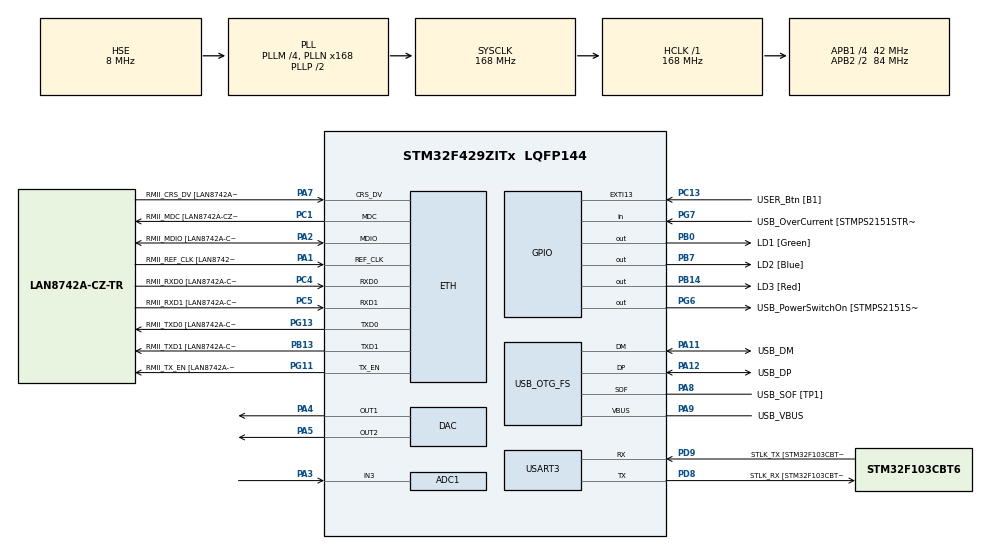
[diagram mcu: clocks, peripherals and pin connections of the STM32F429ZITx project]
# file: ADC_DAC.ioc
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ADC1.Channel-0\#ChannelRegularConversion=ADC_CHANNEL_3
ADC1.NbrOfConversionFlag=1
ADC1.Rank-0\#ChannelRegularConversion=1
ADC1.SamplingTime-0\#ChannelRegularConversion=ADC_SAMPLETIME_3CYCLES
ADC1.master=1
ETH.MediaInterface=HAL_ETH_RMII_MODE
ETH.PHY_Name=LAN8742A_PHY_ADDRESS
ETH.PHY_Value=0
ETH.PhyAddress=0
Mcu.Family=STM32F4
Mcu.Name=STM32F429ZITx
Mcu.Package=LQFP144
NVIC.PriorityGroup=NVIC_PRIORITYGROUP_4
PA1.GPIO_Label=RMII_REF_CLK [LAN8742A-CZ-TR_REFCLK0]
PA1.Mode=RMII
PA1.Signal=ETH_REF_CLK
PA10.GPIO_Label=USB_ID
PA10.Signal=USB_OTG_FS_ID
PA11.GPIO_Label=USB_DM
PA11.Mode=Device_Only
PA11.Signal=USB_OTG_FS_DM
PA12.GPIO_Label=USB_DP
PA12.Mode=Device_Only
PA12.Signal=USB_OTG_FS_DP
PA13.GPIO_Label=TMS
PA13.Mode=Serial_Wire
PA13.Signal=SYS_JTMS-SWDIO
PA14.GPIO_Label=TCK
PA14.Mode=Serial_Wire
PA14.Signal=SYS_JTCK-SWCLK
PA2.GPIO_Label=RMII_MDIO [LAN8742A-CZ-TR_MDIO]
PA2.Mode=RMII
PA2.Signal=ETH_MDIO
PA3.Signal=ADCx_IN3
PA4.Signal=COMP_DAC1_group
PA5.Signal=COMP_DAC2_group
PA7.GPIO_Label=RMII_CRS_DV [LAN8742A-CZ-TR_CRS_DV]
PA7.Mode=RMII
PA7.Signal=ETH_CRS_DV
PA8.GPIO_Label=USB_SOF [TP1]
PA8.Mode=Activate_SOF_FS
PA8.Signal=USB_OTG_FS_SOF
PA9.GPIO_Label=USB_VBUS
PA9.Mode=Activate_VBUS
PA9.Signal=USB_OTG_FS_VBUS
PB0.GPIO_Label=LD1 [Green]
PB0.Signal=GPIO_Output
PB13.GPIO_Label=RMII_TXD1 [LAN8742A-CZ-TR_TXD1]
PB13.Mode=RMII
PB13.Signal=ETH_TXD1
PB14.GPIO_Label=LD3 [Red]
PB14.Signal=GPIO_Output
PB7.GPIO_Label=LD2 [Blue]
PB7.Signal=GPIO_Output
PC1.GPIO_Label=RMII_MDC [LAN8742A-CZ-TR_MDC]
PC1.Mode=RMII
PC1.Signal=ETH_MDC
PC13.GPIO_Label=USER_Btn [B1]
PC13.Signal=GPXTI13
PC14/OSC32_IN.Mode=LSE-External-Oscillator
PC14/OSC32_IN.Signal=RCC_OSC32_IN
PC15/OSC32_OUT.Mode=LSE-External-Oscillator
PC15/OSC32_OUT.Signal=RCC_OSC32_OUT
PC4.GPIO_Label=RMII_RXD0 [LAN8742A-CZ-TR_RXD0]
PC4.Mode=RMII
PC4.Signal=ETH_RXD0
PC5.GPIO_Label=RMII_RXD1 [LAN8742A-CZ-TR_RXD1]
PC5.Mode=RMII
PC5.Signal=ETH_RXD1
PD8.GPIO_Label=STLK_RX [STM32F103CBT6_PA3]
PD8.Mode=Asynchronous
PD8.Signal=USART3_TX
PD9.GPIO_Label=STLK_TX [STM32F103CBT6_PA2]
PD9.Mode=Asynchronous
PD9.Signal=USART3_RX
PG11.GPIO_Label=RMII_TX_EN [LAN8742A-CZ-TR_TXEN]
PG11.Mode=RMII
PG11.Signal=ETH_TX_EN
PG13.GPIO_Label=RMII_TXD0 [LAN8742A-CZ-TR_TXD0]
PG13.Mode=RMII
PG13.Signal=ETH_TXD0
PG6.GPIO_Label=USB_PowerSwitchOn [STMPS2151STR_EN]
PG6.Signal=GPIO_Output
PG7.GPIO_Label=USB_OverCurrent [STMPS2151STR_FAULT]
PG7.Signal=GPIO_Input
PH0/OSC_IN.GPIO_Label=MCO [STM32F103CBT6_PA8]
PH0/OSC_IN.Mode=HSE-External-Clock-Source
PH0/OSC_IN.Signal=RCC_OSC_IN
PH1/OSC_OUT.Mode=HSE-External-Clock-Source
PH1/OSC_OUT.Signal=RCC_OSC_OUT
ProjectManager.HeapSize=0x200
ProjectManager.StackSize=0x400
ProjectManager.TargetToolchain=STM32CubeIDE
RCC.48MHZClocksFreq_Value=48000000
RCC.AHBFreq_Value=168000000
RCC.APB1CLKDivider=RCC_HCLK_DIV4
RCC.APB1Freq_Value=42000000
RCC.APB1TimFreq_Value=84000000
RCC.APB2CLKDivider=RCC_HCLK_DIV2
RCC.APB2Freq_Value=84000000
RCC.APB2TimCLKDivider=2
RCC.APB2TimFreq_Value=168000000
RCC.CortexFreq_Value=168000000
RCC.HCLKFreq_Value=168000000
RCC.HSE_VALUE=8000000
RCC.HSI_VALUE=16000000
RCC.PLLM=4
RCC.PLLMUL=RCC_PLL_MUL9
RCC.PLLN=168
RCC.PLLQ=7
RCC.PRESCALERUSB=RCC_USBCLKSOURCE_PLL_DIV1_5
RCC.SYSCLKFreq_VALUE=168000000
RCC.SYSCLKSource=RCC_SYSCLKSOURCE_PLLCLK
RCC.SYSCLKSourceVirtual=RCC_SYSCLKSOURCE_PLLCLK
RCC.USBFreq_Value=48000000
RCC.VCOOutputFreq_Value=336000000
SH.ADCx_IN3.0=ADC1_IN3,IN3
SH.COMP_DAC1_group.0=DAC_OUT1,DAC_OUT1
SH.COMP_DAC2_group.0=DAC_OUT2,DAC_OUT2
USART3.VirtualMode=VM_ASYNC
USB_OTG_FS.VirtualMode=Device_Only
board=NUCLEO-F429ZI

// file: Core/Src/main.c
/* USER CODE BEGIN Header */
/**
  ******************************************************************************
  * @file           : main.c
  * @brief          : Main program body
  ******************************************************************************
  * @attention
  *
  * Copyright (c) 2023 STMicroelectronics.
  * All rights reserved.
  *
  * This software is licensed under terms that can be found in the LICENSE file
  * in the root directory of this software component.
  * If no LICENSE file comes with this software, it is provided AS-IS.
  *
  ******************************************************************************
  */
/* USER CODE END Header */
#include "main.h"
#include "string.h"

/* USER CODE BEGIN Includes */
#include "stdio.h"
/* USER CODE END Includes */

ETH_TxPacketConfig TxConfig;
ETH_DMADescTypeDef  DMARxDscrTab[ETH_RX_DESC_CNT]; /* Ethernet Rx DMA Descriptors */
ETH_DMADescTypeDef  DMATxDscrTab[ETH_TX_DESC_CNT]; /* Ethernet Tx DMA Descriptors */

ADC_HandleTypeDef hadc1;

DAC_HandleTypeDef hdac;

ETH_HandleTypeDef heth;

UART_HandleTypeDef huart3;

PCD_HandleTypeDef hpcd_USB_OTG_FS;

void SystemClock_Config(void);
static void MX_GPIO_Init(void);
static void MX_ETH_Init(void);
static void MX_USART3_UART_Init(void);
static void MX_USB_OTG_FS_PCD_Init(void);
static void MX_ADC1_Init(void);
static void MX_DAC_Init(void);
/* USER CODE BEGIN PFP */
int _write(int file, char *ptr, int len) {
	HAL_UART_Transmit(&huart3, (uint8_t *)ptr, len, 500);
	return len;
}

int __io_putchar(int ch) {
	HAL_UART_Transmit(&huart3, (uint8_t *)&ch, 1, 1000);
	return ch;
}

/* USER CODE END PFP */

int main(void)
{

  /* MCU Configuration--------------------------------------------------------*/

  /* Reset of all peripherals, Initializes the Flash interface and the Systick. */
  HAL_Init();

  /* Configure the system clock */
  SystemClock_Config();

  /* Initialize all configured peripherals */
  MX_GPIO_Init();
  MX_ETH_Init();
  MX_USART3_UART_Init();
  MX_USB_OTG_FS_PCD_Init();
  MX_ADC1_Init();
  MX_DAC_Init();
  /* USER CODE BEGIN 2 */
  int adc_value;
  HAL_ADC_Start_IT(&hadc1);
  HAL_DAC_Start(&hdac, DAC_CHANNEL_1);
  HAL_DAC_Start(&hdac, DAC_CHANNEL_2);

  /* USER CODE END 2 */

  /* Infinite loop */
  /* USER CODE BEGIN WHILE */
  while (1)
  {
	  HAL_DAC_SetValue(&hdac, DAC_CHANNEL_1, DAC_ALIGN_12B_R, 4095);
	  HAL_DAC_SetValue(&hdac, DAC_CHANNEL_2, DAC_ALIGN_12B_R, 4095-adc_value);
	  HAL_Delay(1);

	  HAL_ADC_Start(&hadc1);
	  HAL_ADC_PollForConversion(&hadc1, 10);
	  adc_value = HAL_ADC_GetValue(&hadc1);
	  HAL_ADC_Stop(&hadc1);

	  printf("ADC value : %d, DAC1 value : %d, DAC2 vale : %d \r\n", adc_value, adc_value, 4095-adc_value);
	  HAL_Delay(300);
    /* USER CODE END WHILE */

  }
}

void SystemClock_Config(void)
{
  RCC_OscInitTypeDef RCC_OscInitStruct = {0};
  RCC_ClkInitTypeDef RCC_ClkInitStruct = {0};

  /** Configure the main internal regulator output voltage
  */
  __HAL_RCC_PWR_CLK_ENABLE();
  __HAL_PWR_VOLTAGESCALING_CONFIG(PWR_REGULATOR_VOLTAGE_SCALE1);

  /** Initializes the RCC Oscillators according to the specified parameters
  * in the RCC_OscInitTypeDef structure.
  */
  RCC_OscInitStruct.OscillatorType = RCC_OSCILLATORTYPE_HSE;
  RCC_OscInitStruct.HSEState = RCC_HSE_BYPASS;
  RCC_OscInitStruct.PLL.PLLState = RCC_PLL_ON;
  RCC_OscInitStruct.PLL.PLLSource = RCC_PLLSOURCE_HSE;
  RCC_OscInitStruct.PLL.PLLM = 4;
  RCC_OscInitStruct.PLL.PLLN = 168;
  RCC_OscInitStruct.PLL.PLLP = RCC_PLLP_DIV2;
  RCC_OscInitStruct.PLL.PLLQ = 7;
  if (HAL_RCC_OscConfig(&RCC_OscInitStruct) != HAL_OK)
  {
    Error_Handler();
  }

  /** Initializes the CPU, AHB and APB buses clocks
  */
  RCC_ClkInitStruct.ClockType = RCC_CLOCKTYPE_HCLK|RCC_CLOCKTYPE_SYSCLK
                              |RCC_CLOCKTYPE_PCLK1|RCC_CLOCKTYPE_PCLK2;
  RCC_ClkInitStruct.SYSCLKSource = RCC_SYSCLKSOURCE_PLLCLK;
  RCC_ClkInitStruct.AHBCLKDivider = RCC_SYSCLK_DIV1;
  RCC_ClkInitStruct.APB1CLKDivider = RCC_HCLK_DIV4;
  RCC_ClkInitStruct.APB2CLKDivider = RCC_HCLK_DIV2;

  if (HAL_RCC_ClockConfig(&RCC_ClkInitStruct, FLASH_LATENCY_5) != HAL_OK)
  {
    Error_Handler();
  }
}

static void MX_ADC1_Init(void)
{

  ADC_ChannelConfTypeDef sConfig = {0};

  /** Configure the global features of the ADC (Clock, Resolution, Data Alignment and number of conversion)
  */
  hadc1.Instance = ADC1;
  hadc1.Init.ClockPrescaler = ADC_CLOCK_SYNC_PCLK_DIV4;
  hadc1.Init.Resolution = ADC_RESOLUTION_12B;
  hadc1.Init.ScanConvMode = DISABLE;
  hadc1.Init.ContinuousConvMode = DISABLE;
  hadc1.Init.DiscontinuousConvMode = DISABLE;
  hadc1.Init.ExternalTrigConvEdge = ADC_EXTERNALTRIGCONVEDGE_NONE;
  hadc1.Init.ExternalTrigConv = ADC_SOFTWARE_START;
  hadc1.Init.DataAlign = ADC_DATAALIGN_RIGHT;
  hadc1.Init.NbrOfConversion = 1;
  hadc1.Init.DMAContinuousRequests = DISABLE;
  hadc1.Init.EOCSelection = ADC_EOC_SINGLE_CONV;
  if (HAL_ADC_Init(&hadc1) != HAL_OK)
  {
    Error_Handler();
  }

  /** Configure for the selected ADC regular channel its corresponding rank in the sequencer and its sample time.
  */
  sConfig.Channel = ADC_CHANNEL_3;
  sConfig.Rank = 1;
  sConfig.SamplingTime = ADC_SAMPLETIME_3CYCLES;
  if (HAL_ADC_ConfigChannel(&hadc1, &sConfig) != HAL_OK)
  {
    Error_Handler();
  }

}

static void MX_DAC_Init(void)
{

  DAC_ChannelConfTypeDef sConfig = {0};

  /** DAC Initialization
  */
  hdac.Instance = DAC;
  if (HAL_DAC_Init(&hdac) != HAL_OK)
  {
    Error_Handler();
  }

  /** DAC channel OUT1 config
  */
  sConfig.DAC_Trigger = DAC_TRIGGER_NONE;
  sConfig.DAC_OutputBuffer = DAC_OUTPUTBUFFER_ENABLE;
  if (HAL_DAC_ConfigChannel(&hdac, &sConfig, DAC_CHANNEL_1) != HAL_OK)
  {
    Error_Handler();
  }

  /** DAC channel OUT2 config
  */
  if (HAL_DAC_ConfigChannel(&hdac, &sConfig, DAC_CHANNEL_2) != HAL_OK)
  {
    Error_Handler();
  }

}

static void MX_ETH_Init(void)
{

   static uint8_t MACAddr[6];

  heth.Instance = ETH;
  MACAddr[0] = 0x00;
  MACAddr[1] = 0x80;
  MACAddr[2] = 0xE1;
  MACAddr[3] = 0x00;
  MACAddr[4] = 0x00;
  MACAddr[5] = 0x00;
  heth.Init.MACAddr = &MACAddr[0];
  heth.Init.MediaInterface = HAL_ETH_RMII_MODE;
  heth.Init.TxDesc = DMATxDscrTab;
  heth.Init.RxDesc = DMARxDscrTab;
  heth.Init.RxBuffLen = 1524;

  if (HAL_ETH_Init(&heth) != HAL_OK)
  {
    Error_Handler();
  }

  memset(&TxConfig, 0 , sizeof(ETH_TxPacketConfig));
  TxConfig.Attributes = ETH_TX_PACKETS_FEATURES_CSUM | ETH_TX_PACKETS_FEATURES_CRCPAD;
  TxConfig.ChecksumCtrl = ETH_CHECKSUM_IPHDR_PAYLOAD_INSERT_PHDR_CALC;
  TxConfig.CRCPadCtrl = ETH_CRC_PAD_INSERT;

}

static void MX_USART3_UART_Init(void)
{

  huart3.Instance = USART3;
  huart3.Init.BaudRate = 115200;
  huart3.Init.WordLength = UART_WORDLENGTH_8B;
  huart3.Init.StopBits = UART_STOPBITS_1;
  huart3.Init.Parity = UART_PARITY_NONE;
  huart3.Init.Mode = UART_MODE_TX_RX;
  huart3.Init.HwFlowCtl = UART_HWCONTROL_NONE;
  huart3.Init.OverSampling = UART_OVERSAMPLING_16;
  if (HAL_UART_Init(&huart3) != HAL_OK)
  {
    Error_Handler();
  }

}

static void MX_USB_OTG_FS_PCD_Init(void)
{

  hpcd_USB_OTG_FS.Instance = USB_OTG_FS;
  hpcd_USB_OTG_FS.Init.dev_endpoints = 4;
  hpcd_USB_OTG_FS.Init.speed = PCD_SPEED_FULL;
  hpcd_USB_OTG_FS.Init.dma_enable = DISABLE;
  hpcd_USB_OTG_FS.Init.phy_itface = PCD_PHY_EMBEDDED;
  hpcd_USB_OTG_FS.Init.Sof_enable = ENABLE;
  hpcd_USB_OTG_FS.Init.low_power_enable = DISABLE;
  hpcd_USB_OTG_FS.Init.lpm_enable = DISABLE;
  hpcd_USB_OTG_FS.Init.vbus_sensing_enable = ENABLE;
  hpcd_USB_OTG_FS.Init.use_dedicated_ep1 = DISABLE;
  if (HAL_PCD_Init(&hpcd_USB_OTG_FS) != HAL_OK)
  {
    Error_Handler();
  }

}

static void MX_GPIO_Init(void)
{
  GPIO_InitTypeDef GPIO_InitStruct = {0};

  /* GPIO Ports Clock Enable */
  __HAL_RCC_GPIOC_CLK_ENABLE();
  __HAL_RCC_GPIOH_CLK_ENABLE();
  __HAL_RCC_GPIOA_CLK_ENABLE();
  __HAL_RCC_GPIOB_CLK_ENABLE();
  __HAL_RCC_GPIOD_CLK_ENABLE();
  __HAL_RCC_GPIOG_CLK_ENABLE();

  /*Configure GPIO pin Output Level */
  HAL_GPIO_WritePin(GPIOB, LD1_Pin|LD3_Pin|LD2_Pin, GPIO_PIN_RESET);

  /*Configure GPIO pin Output Level */
  HAL_GPIO_WritePin(USB_PowerSwitchOn_GPIO_Port, USB_PowerSwitchOn_Pin, GPIO_PIN_RESET);

  /*Configure GPIO pin : USER_Btn_Pin */
  GPIO_InitStruct.Pin = USER_Btn_Pin;
  GPIO_InitStruct.Mode = GPIO_MODE_IT_RISING;
  GPIO_InitStruct.Pull = GPIO_NOPULL;
  HAL_GPIO_Init(USER_Btn_GPIO_Port, &GPIO_InitStruct);

  /*Configure GPIO pins : LD1_Pin LD3_Pin LD2_Pin */
  GPIO_InitStruct.Pin = LD1_Pin|LD3_Pin|LD2_Pin;
  GPIO_InitStruct.Mode = GPIO_MODE_OUTPUT_PP;
  GPIO_InitStruct.Pull = GPIO_NOPULL;
  GPIO_InitStruct.Speed = GPIO_SPEED_FREQ_LOW;
  HAL_GPIO_Init(GPIOB, &GPIO_InitStruct);

  /*Configure GPIO pin : USB_PowerSwitchOn_Pin */
  GPIO_InitStruct.Pin = USB_PowerSwitchOn_Pin;
  GPIO_InitStruct.Mode = GPIO_MODE_OUTPUT_PP;
  GPIO_InitStruct.Pull = GPIO_NOPULL;
  GPIO_InitStruct.Speed = GPIO_SPEED_FREQ_LOW;
  HAL_GPIO_Init(USB_PowerSwitchOn_GPIO_Port, &GPIO_InitStruct);

  /*Configure GPIO pin : USB_OverCurrent_Pin */
  GPIO_InitStruct.Pin = USB_OverCurrent_Pin;
  GPIO_InitStruct.Mode = GPIO_MODE_INPUT;
  GPIO_InitStruct.Pull = GPIO_NOPULL;
  HAL_GPIO_Init(USB_OverCurrent_GPIO_Port, &GPIO_InitStruct);

}

void Error_Handler(void)
{
  __disable_irq();
  while (1)
  {
  }
}
